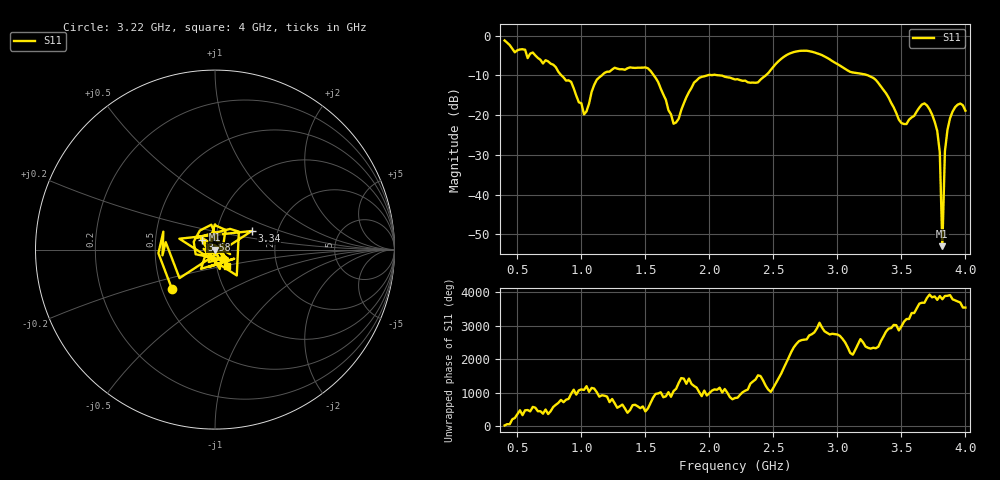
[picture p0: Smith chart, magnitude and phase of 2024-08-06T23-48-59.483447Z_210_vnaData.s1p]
!Created with skrf (http://scikit-rf.org).
# Hz S RI R 50.0
!freq ReS11 ImS11
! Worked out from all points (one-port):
!   181 points, 400 MHz to 4 GHz, reference 50 ohm
!   lowest |S11| = -53.0 dB at 3.82 GHz (marker M1), VSWR 1.00, Z = 49.8 - j0.0557 ohm
!   |S11| at or under -10 dB: 1.566 GHz to 1.984 GHz (417.6 MHz wide, 23.5 % of centre); 2.082 GHz to 2.44 GHz (358.4 MHz wide, 15.9 % of centre); 3.239 GHz to end of sweep (the widest 3 of 4)
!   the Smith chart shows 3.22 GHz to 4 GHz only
!   S11 on the Smith chart (normalised r, x): 3.22 GHz: 0.56, -0.27; 3.34 GHz: 1.47, +0.32; 3.58 GHz: 0.86, +0.10; 4 GHz: 1.12, -0.21
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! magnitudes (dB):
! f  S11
! 400 MHz  -1.2
! 860 MHz  -10.5
! 920 MHz  -11.6
! 1.02 GHz  -19.8
! 1.12 GHz  -11.1
! 1.3 GHz  -8.4
! 1.52 GHz  -8.2
! 1.6 GHz  -11.7
! 1.72 GHz  -22.2
! 1.76 GHz  -20.9
! 1.92 GHz  -10.6
! 2.2 GHz  -11.0
! 2.38 GHz  -11.7
! 2.66 GHz  -4.1
! 3.1 GHz  -9.1
! 3.22 GHz  -9.8
! 3.34 GHz  -12.8
! 3.5 GHz  -22.0
! 3.56 GHz  -21.1
! 3.58 GHz  -20.6
! 3.68 GHz  -17.0
! 3.78 GHz  -24.0
! 3.8 GHz  -29.3
! 3.82 GHz  -53.0
! 3.84 GHz  -29.1
! 3.86 GHz  -23.7
! 3.92 GHz  -18.0
! 4 GHz  -18.9
